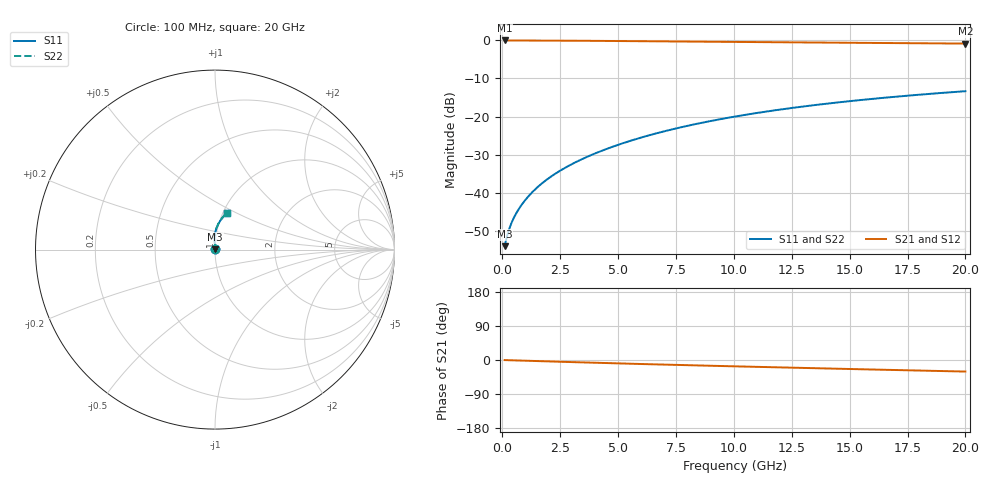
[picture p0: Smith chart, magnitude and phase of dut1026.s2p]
! Touchstone file exported from HFSS 2024.1.0
!  File:  C:/UserFiles/LocalFiles/RDL_TSV_Batchsim/temp_RDL_bottom_1026_1780050934.aedt
!  Generated:  06:37:45 PM May 29, 2026
!  Design:  RDL_bottom
!  Project:  temp_RDL_bottom_1026_1780050934
!  Setup:  Setup1
!  Solution:  Sweep
! Variables:
!  dtsv = 10.80580581um
!  hbump = 3um
!  htsv = 71.22um
!  ldown = 491.13um
!  lrdl = 100um
!  p = 40
!  p1 = 42.79um
!  rhole = 1um
!  t = 450um
!  tdown = 4.35um
!  trdl = 3.915915916um
!  wdown = 26.78um
!  wrdl = 20um
# GHz S MA R 50.000000
! Terminal data exported
! Port[1] = RDL1_T1
! Port[2] = RDL1_T2
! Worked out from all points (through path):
!   200 points, 100 MHz to 20 GHz, reference 50 ohm
!   highest |S21| = -0.02 dB at 100 MHz (marker M1); lowest = -0.8 dB at 20 GHz (marker M2)
!   group delay of S21, straight-line fit = 4.17 ps
!   lowest |S11| = -54.1 dB at 100 MHz (marker M3), VSWR 1.00, Z = 50.2 + j0.0978 ohm
!   |S11| at or under -10 dB: start of sweep to end of sweep
!   |S22| runs from -54.1 to -13.3 dB; largest |S21 - S12| = 2.1e-15
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0.1  0.001981 29.5  0.9983 -0.2  0.9983 -0.2  0.001981 29.5
! Gamma 0 0 0 0
! Port Impedance 50 0 50 0
0.2  0.002638 45.0  0.9981 -0.4  0.9981 -0.4  0.002638 45.0
0.3  0.003341 53.1  0.9979 -0.6  0.9979 -0.6  0.00334 53.1
0.4  0.00402 58.2  0.9977 -0.8  0.9977 -0.8  0.00402 58.2
0.5  0.004683 62.2  0.9976 -1.0  0.9976 -1.0  0.004682 62.2
0.6  0.005342 65.4  0.9974 -1.1  0.9974 -1.1  0.005341 65.4
0.8  0.006677 70.5  0.9972 -1.5  0.9972 -1.5  0.006676 70.5
1.2  0.009461 77.3  0.9965 -2.3  0.9965 -2.3  0.009461 77.3
1.7  0.01314 82.5  0.9954 -3.2  0.9954 -3.2  0.01314 82.5
2.2  0.01703 85.9  0.9939 -4.1  0.9939 -4.1  0.01703 85.9
2.8  0.02195 88.6  0.9918 -5.2  0.9918 -5.2  0.02195 88.6
3.5  0.02806 90.7  0.9889 -6.4  0.9889 -6.4  0.02806 90.7
4.2  0.03456 92.0  0.9856 -7.6  0.9856 -7.6  0.03457 92.0
5  0.04246 92.7  0.9816 -9.0  0.9816 -9.0  0.04248 92.8
5.9  0.05188 92.9  0.9768 -10.4  0.9768 -10.4  0.0519 92.9
6.8  0.06178 92.5  0.9718 -11.9  0.9718 -11.9  0.0618 92.6
8.4  0.08022 91.0  0.9631 -14.3  0.9631 -14.3  0.08026 91.0
10.1  0.1005 88.6  0.9542 -16.8  0.9542 -16.8  0.1006 88.7
11.7  0.1198 86.1  0.9462 -19.1  0.9462 -19.1  0.1199 86.1
13.4  0.1403 83.1  0.938 -21.5  0.938 -21.5  0.1403 83.2
16.7  0.1788 77.4  0.9229 -26.1  0.9229 -26.1  0.1789 77.5
20  0.2151 71.9  0.9085 -30.5  0.9085 -30.5  0.2153 71.9
